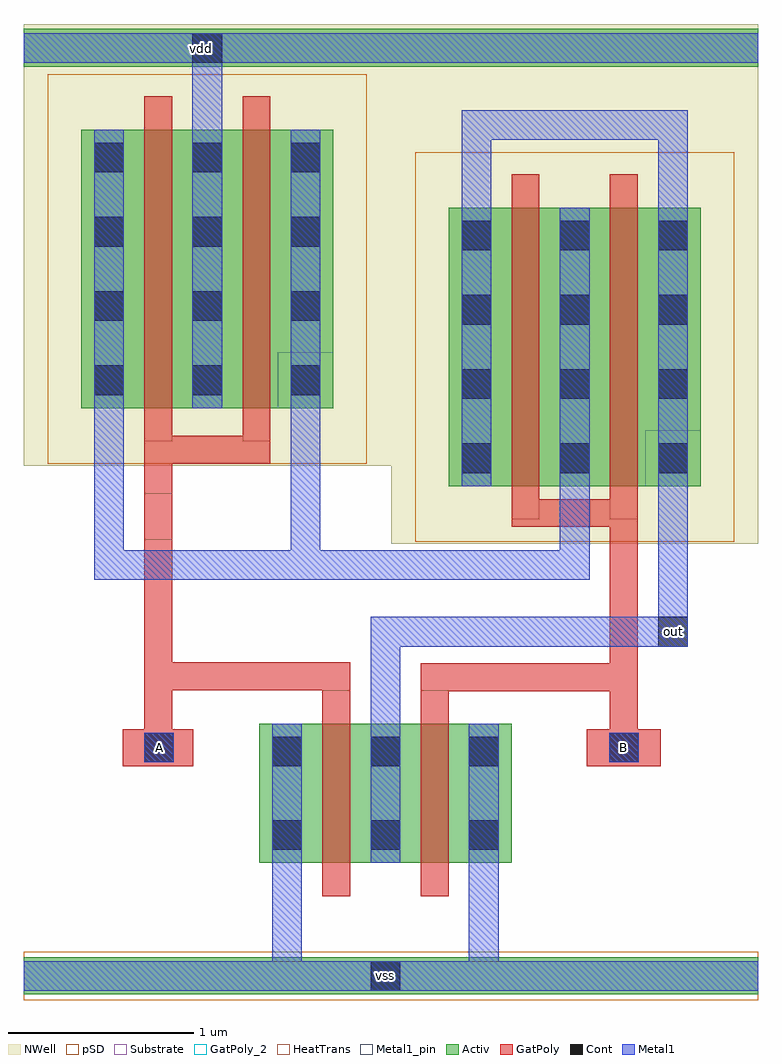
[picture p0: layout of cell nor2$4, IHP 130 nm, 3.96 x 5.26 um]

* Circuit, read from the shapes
.subckt nor2$4 A B out vdd vss
XM1 out A vss vss sg13_lv_nmos w=0.75u l=0.15u
XM2 vss B out vss sg13_lv_nmos w=0.75u l=0.15u
XM3 vdd A n1 vdd sg13_lv_pmos w=1.5u l=0.15u m=2
XM4 n1 B out vdd sg13_lv_pmos w=1.5u l=0.15u m=2
.ends

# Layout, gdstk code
import gdstk
lib = gdstk.Library(unit=1e-6, precision=5e-09)
def R(c, l, rs):  # rectangles x0, y0, x1, y1
    for r in rs: c.add(gdstk.rectangle(r[:2], r[2:], *l))
def A(c, l, x, y, w, h, nx, ny, dx, dy):  # array of equal rectangles
    R(c, l, [(x+i*dx, y+j*dy, x+i*dx+w, y+j*dy+h) for i in range(nx) for j in range(ny)])
Activ = (1, 0)
GatPoly = (5, 0)
GatPoly_2 = (5, 2)
Cont = (6, 0)
Metal1 = (8, 0)
Metal1_pin = (8, 2)
pSD = (14, 0)
NWell = (31, 0)
Substrate = (40, 0)
HeatTrans = (51, 0)

pmos_5 = lib.new_cell('pmos$5')
A(pmos_5, Activ, 0, 0, 0.3, 0.3, 3, 1, 0.53, 0)
R(pmos_5, Activ, [(0,0,1.36,1.5)])
R(pmos_5, GatPoly, [(0.34,-0.18,0.49,1.68), (0.34,-0.18,0.49,1.68), (0.87,-0.18,1.02,1.68)])
A(pmos_5, Cont, 0.07, 0.07, 0.16, 0.16, 3, 4, 0.53, 0.4)
R(pmos_5, Metal1, [(0.07,0,0.23,1.5), (0.07,0,0.23,1.5), (0.6,0,0.76,1.5), (0.6,0,0.76,1.5), (1.13,0,1.29,1.5)])
R(pmos_5, pSD, [(-0.18,-0.3,1.54,1.8)])
R(pmos_5, NWell, [(-0.31,-0.31,1.67,1.81)])
R(pmos_5, Substrate, [(1.06,0,1.36,0.3)])
R(pmos_5, HeatTrans, [(0.34,-0.18,0.49,1.68), (0.87,-0.18,1.02,1.68)])
pmos_5.add(gdstk.Label('pmos', (0.415,0.75), layer=63, texttype=0))
pmos_5.add(gdstk.Label('pmos', (0.415,0.75), layer=51, texttype=0))
pmos_5.add(gdstk.Label('pmos', (0.945,0.75), layer=51, texttype=0))

nmos_2_4 = lib.new_cell('nmos$2$4')
R(nmos_2_4, Activ, [(0,0,0.3,0.3), (0,0,0.83,0.75), (0.53,0,0.83,0.3)])
R(nmos_2_4, GatPoly, [(0.34,-0.18,0.49,0.93)])
R(nmos_2_4, GatPoly_2, [(0.34,-0.18,0.49,0.93)])
R(nmos_2_4, Cont, [(0.07,0.07,0.23,0.23), (0.6,0.07,0.76,0.23), (0.07,0.52,0.23,0.68), (0.6,0.52,0.76,0.68)])
R(nmos_2_4, Metal1, [(0.07,0,0.23,0.75), (0.6,0,0.76,0.75)])
R(nmos_2_4, Metal1_pin, [(0.07,0,0.23,0.75), (0.6,0,0.76,0.75)])
R(nmos_2_4, HeatTrans, [(0.34,-0.18,0.49,0.93)])
nmos_2_4.add(gdstk.Label('nmos', (0.415,0.375), layer=63, texttype=0))
nmos_2_4.add(gdstk.Label('nmos', (0.415,0.375), layer=51, texttype=0))

nor2_4 = lib.new_cell('nor2$4')
R(nor2_4, Activ, [(-2.34,-0.1,1.62,0.1), (-2.34,4.9,1.62,5.105)])
R(nor2_4, GatPoly, [(-1.805,1.13,-1.605,1.33), (-1.625,1.13,-1.425,1.33), (0.695,1.13,0.895,1.33), (0.82,1.13,0.97,1.685), (0.895,1.13,1.095,1.33), (-1.69,1.33,-1.54,1.69), (-0.2,1.535,0.97,1.685), (-1.69,1.54,-0.58,1.69), (0.82,1.685,0.97,2.46), (-1.69,1.69,-1.54,2.88), (0.29,2.42,0.97,2.57), (-1.69,2.76,-1.01,2.91)])
R(nor2_4, GatPoly_2, [(-1.69,2.35,-1.54,2.6)])
R(nor2_4, Cont, [(-0.47,-0.08,-0.31,0.08), (-1.69,1.15,-1.53,1.31), (0.815,1.15,0.975,1.31), (1.08,1.775,1.24,1.935), (-1.43,4.92,-1.27,5.08)])
R(nor2_4, Metal1, [(-2.34,-0.08,1.62,0.08), (-0.47,-0.08,-0.31,0.08), (-1,0.08,-0.84,0.84), (0.06,0.08,0.22,0.84), (-0.47,1.13,-0.31,1.775), (-1.69,1.15,-1.53,1.31), (0.815,1.15,0.975,1.31), (-0.47,1.775,1.24,1.935), (1.08,1.935,1.24,2.64), (-1.96,2.135,-1.8,3.29), (-1.96,2.135,0.71,2.295), (-0.9,2.135,-0.74,3.29), (0.55,2.135,0.71,2.87), (0.02,3.905,0.18,4.505), (1.08,3.905,1.24,4.505), (0.02,4.505,1.24,4.665), (-1.43,4.56,-1.27,5.08), (-2.34,4.92,1.62,5.08), (-1.43,4.92,-1.27,5.08)])
R(nor2_4, Metal1_pin, [(-2.34,-0.08,1.62,0.08), (-0.47,-0.08,-0.31,0.08), (-1.69,1.15,-1.53,1.31), (0.815,1.15,0.975,1.31), (1.08,1.775,1.24,1.935), (-2.34,4.92,-0.08,5.08), (-0.08,4.92,0.08,5.08), (0.08,4.92,1.62,5.08)])
R(nor2_4, pSD, [(-2.34,-0.13,1.62,0.13)])
R(nor2_4, NWell, [(-0.36,4.45,1.62,4.87), (-2.34,4.87,1.62,5.13)])
nor2_4.add(gdstk.Reference(pmos_5, (-0.05,2.64)))
nor2_4.add(gdstk.Reference(pmos_5, (-2.03,3.06)))
nor2_4.add(gdstk.Reference(pmos_5, (-2.03,3.06)))
nor2_4.add(gdstk.Reference(nmos_2_4, (-1.07,0.61)))
nor2_4.add(gdstk.Reference(nmos_2_4, (-0.54,0.61)))
nor2_4.add(gdstk.Label('vss', (-0.39,0), layer=8, texttype=2))
nor2_4.add(gdstk.Label('vdd', (-1.38,5), layer=8, texttype=2))
nor2_4.add(gdstk.Label('A', (-1.61,1.23), layer=8, texttype=2))
nor2_4.add(gdstk.Label('B', (0.895,1.23), layer=8, texttype=2))
nor2_4.add(gdstk.Label('out', (1.16,1.855), layer=8, texttype=2))

lib.write_gds('nor2_4.gds')
